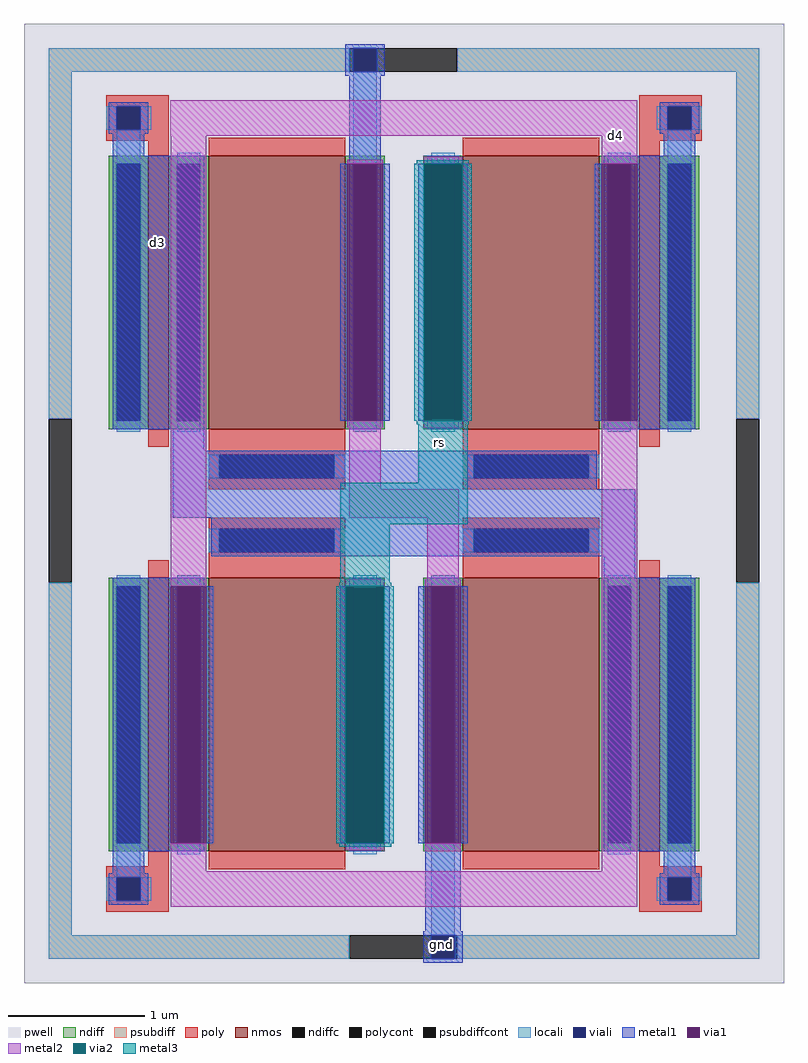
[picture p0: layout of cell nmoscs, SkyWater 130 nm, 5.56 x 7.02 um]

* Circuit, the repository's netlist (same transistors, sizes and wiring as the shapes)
** sch_path: /home/riff/mbkm-polytron/opamp/mag/nmoscs.sch
.subckt nmoscs RS D3 D4 GND
*.PININFO RS:B D3:B D4:B GND:B
XM4 D4 D3 RS GND sky130_fd_pr__nfet_01v8 L=1 W=2 nf=1 m=2
XM3 D3 D3 GND GND sky130_fd_pr__nfet_01v8 L=1 W=2 nf=1 m=2
XM1 D3 D3 D3 GND sky130_fd_pr__nfet_01v8 L=0.15 W=2 nf=1 m=2
XM2 D4 D4 D4 GND sky130_fd_pr__nfet_01v8 L=0.15 W=2 nf=1 m=2
.ends
.end

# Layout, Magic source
magic
tech sky130A
magscale 1 2
<< pwell >>
rect -213 -1253 899 151
<< psubdiff >>
rect -177 81 263 115
rect 421 81 863 115
rect -177 -427 -143 81
rect -177 -1183 -143 -667
rect 829 -427 863 81
rect 829 -1183 863 -667
rect -177 -1217 263 -1183
rect 421 -1217 863 -1183
<< psubdiffcont >>
rect 263 81 421 115
rect -177 -667 -143 -427
rect 829 -667 863 -427
rect 263 -1217 421 -1183
<< poly >>
rect -93 30 -1 46
rect -93 -4 -77 30
rect -43 -4 -1 30
rect -93 -20 -1 -4
rect -31 -42 -1 -20
rect 687 30 779 46
rect 687 -4 729 30
rect 763 -4 779 30
rect 687 -20 779 -4
rect 687 -42 717 -20
rect -31 -1082 -1 -1060
rect -93 -1098 -1 -1082
rect -93 -1132 -77 -1098
rect -43 -1132 -1 -1098
rect -93 -1148 -1 -1132
rect 687 -1082 717 -1080
rect 687 -1098 779 -1082
rect 687 -1132 729 -1098
rect 763 -1132 779 -1098
rect 687 -1148 779 -1132
<< polycont >>
rect -77 -4 -43 30
rect 729 -4 763 30
rect -77 -1132 -43 -1098
rect 729 -1132 763 -1098
<< locali >>
rect -177 81 263 115
rect 421 81 863 115
rect -177 -427 -143 81
rect -93 -4 -77 30
rect -43 -4 -27 30
rect -77 -42 -43 -4
rect 269 -39 303 81
rect 713 -4 729 30
rect 763 -4 779 30
rect 729 -42 763 -4
rect 829 -427 863 81
rect -177 -1183 -143 -667
rect -77 -1098 -43 -1060
rect -93 -1132 -77 -1098
rect -43 -1132 -27 -1098
rect 383 -1183 417 -1048
rect 729 -1098 763 -1060
rect 713 -1132 729 -1098
rect 763 -1132 779 -1098
rect 829 -1183 863 -667
rect -177 -1217 263 -1183
rect 421 -1217 863 -1183
<< viali >>
rect 269 81 303 115
rect -77 -4 -43 30
rect 729 -4 763 30
rect 269 -430 303 -54
rect 383 -430 417 -54
rect 269 -1048 303 -672
rect 383 -1048 417 -672
rect -77 -1132 -43 -1098
rect 729 -1132 763 -1098
rect 383 -1217 417 -1183
<< metal1 >>
rect 257 115 315 121
rect 257 81 269 115
rect 303 81 315 115
rect 257 75 315 81
rect -89 30 -31 36
rect -89 -4 -77 30
rect -43 -4 -31 30
rect -89 -10 -31 -4
rect -83 -42 -37 -10
rect -83 -442 51 -42
rect 263 -54 309 75
rect 717 30 775 36
rect 717 -4 729 30
rect 763 -4 775 30
rect 717 -10 775 -4
rect 723 -42 769 -10
rect 377 -54 423 -42
rect 635 -54 769 -42
rect 250 -430 260 -54
rect 312 -430 322 -54
rect 364 -430 374 -54
rect 426 -430 436 -54
rect 622 -430 632 -54
rect 684 -430 769 -54
rect 263 -442 309 -430
rect 377 -442 423 -430
rect 635 -442 769 -430
rect 5 -474 51 -442
rect 5 -530 625 -474
rect 5 -572 681 -530
rect 61 -628 681 -572
rect 635 -660 681 -628
rect -83 -672 51 -660
rect 263 -672 309 -660
rect 377 -672 423 -660
rect -83 -1048 2 -672
rect 54 -1048 64 -672
rect 250 -1048 260 -672
rect 312 -1048 322 -672
rect 364 -1048 374 -672
rect 426 -1048 436 -672
rect -83 -1060 51 -1048
rect 263 -1060 309 -1048
rect -83 -1092 -37 -1060
rect -89 -1098 -31 -1092
rect -89 -1132 -77 -1098
rect -43 -1132 -31 -1098
rect -89 -1138 -31 -1132
rect 374 -1177 426 -1048
rect 635 -1060 769 -660
rect 723 -1092 769 -1060
rect 717 -1098 775 -1092
rect 717 -1132 729 -1098
rect 763 -1132 775 -1098
rect 717 -1138 775 -1132
rect 371 -1183 429 -1177
rect 371 -1217 383 -1183
rect 417 -1217 429 -1183
rect 371 -1223 429 -1217
<< via1 >>
rect 260 -430 269 -54
rect 269 -430 303 -54
rect 303 -430 312 -54
rect 374 -430 383 -54
rect 383 -430 417 -54
rect 417 -430 426 -54
rect 632 -430 684 -54
rect 2 -1048 54 -672
rect 260 -1048 269 -672
rect 269 -1048 303 -672
rect 303 -1048 312 -672
rect 374 -1048 383 -672
rect 383 -1048 417 -672
rect 417 -1048 426 -672
<< metal2 >>
rect 1 -13 684 39
rect 2 -672 54 -13
rect 260 -54 312 -48
rect 260 -440 312 -430
rect 372 -54 428 -44
rect 372 -440 428 -430
rect 632 -54 684 -13
rect 263 -530 309 -440
rect 263 -572 423 -530
rect 377 -662 423 -572
rect 2 -1089 54 -1048
rect 258 -672 314 -662
rect 258 -1058 314 -1048
rect 374 -672 426 -662
rect 374 -1060 426 -1048
rect 632 -1089 684 -430
rect 2 -1141 684 -1089
<< via2 >>
rect 372 -430 374 -54
rect 374 -430 426 -54
rect 426 -430 428 -54
rect 258 -1048 260 -672
rect 260 -1048 312 -672
rect 312 -1048 314 -672
<< metal3 >>
rect 362 -54 438 -49
rect 358 -430 372 -54
rect 428 -430 442 -54
rect 362 -435 438 -430
rect 364 -521 436 -435
rect 250 -581 436 -521
rect 250 -667 322 -581
rect 248 -672 324 -667
rect 244 -1048 258 -672
rect 314 -1048 328 -672
rect 248 -1053 324 -1048
use sky130_fd_pr__nfet_01v8_27FZYL  sky130_fd_pr__nfet_01v8_27FZYL_0
transform 1 0 343 0 1 -273
box -344 -257 344 257
use sky130_fd_pr__nfet_01v8_Q6296P  sky130_fd_pr__nfet_01v8_Q6296P_0
transform 1 0 343 0 1 -829
box -344 -257 344 257
use sky130_fd_pr__nfet_01v8_TC9PLT  sky130_fd_pr__nfet_01v8_TC9PLT_0
transform 1 0 702 0 1 -860
box -73 -226 73 226
use sky130_fd_pr__nfet_01v8_TC9PLT  sky130_fd_pr__nfet_01v8_TC9PLT_1
transform 1 0 -16 0 1 -242
box -73 -226 73 226
use sky130_fd_pr__nfet_01v8_TC9PLT  sky130_fd_pr__nfet_01v8_TC9PLT_2
transform 1 0 -16 0 1 -860
box -73 -226 73 226
use sky130_fd_pr__nfet_01v8_TC9PLT  sky130_fd_pr__nfet_01v8_TC9PLT_3
transform 1 0 702 0 1 -242
box -73 -226 73 226
<< labels >>
flabel viali 398 -1196 398 -1196 0 FreeSans 480 0 0 0 gnd
port 0 nsew
flabel metal1 -17 -169 -17 -169 0 FreeSans 480 0 0 0 d3
port 1 nsew
flabel metal2 653 -12 653 -12 0 FreeSans 480 0 0 0 d4
port 2 nsew
flabel metal3 395 -462 395 -462 0 FreeSans 480 0 0 0 rs
port 3 nsew
<< end >>

# cell sky130_fd_pr__nfet_01v8_27FZYL: kit device sky130_fd_pr__nfet_01v8, w 2 l 1 m 1 nf 2 diffcov 100 polycov 100 guard 0 glc 1 grc 1 gtc 1 gbc 1 tbcov 100 rlcov 100 topc 0 botc 1 poverlap 0 doverlap 0 lmin 0.15 wmin 0.42 compatible {sky130_fd_pr__nfet_01v8 sky130_fd_pr__nfet_01v8_lvt sky130_fd_bs_flash__special_sonosfet_star sky130_fd_pr__nfet_g5v0d10v5 sky130_fd_pr__nfet_05v0_nvt sky130_fd_pr__nfet_03v3_nvt} full_metal 1 viasrc 100 viadrn 100 viagate 100 viagb 0 viagr 0 viagl 0 viagt 0

# cell sky130_fd_pr__nfet_01v8_Q6296P: kit device sky130_fd_pr__nfet_01v8, w 2 l 1 m 1 nf 2 diffcov 100 polycov 100 guard 0 glc 1 grc 1 gtc 1 gbc 1 tbcov 100 rlcov 100 topc 1 botc 0 poverlap 0 doverlap 0 lmin 0.15 wmin 0.42 compatible {sky130_fd_pr__nfet_01v8 sky130_fd_pr__nfet_01v8_lvt sky130_fd_bs_flash__special_sonosfet_star sky130_fd_pr__nfet_g5v0d10v5 sky130_fd_pr__nfet_05v0_nvt sky130_fd_pr__nfet_03v3_nvt} full_metal 1 viasrc 100 viadrn 100 viagate 100 viagb 0 viagr 0 viagl 0 viagt 0

# cell sky130_fd_pr__nfet_01v8_TC9PLT: kit device sky130_fd_pr__nfet_01v8, w 2 l 0.150 m 1 nf 1 diffcov 100 polycov 100 guard 0 glc 1 grc 1 gtc 1 gbc 1 tbcov 100 rlcov 100 topc 0 botc 0 poverlap 0 doverlap 1 lmin 0.15 wmin 0.42 compatible {sky130_fd_pr__nfet_01v8 sky130_fd_pr__nfet_01v8_lvt sky130_fd_bs_flash__special_sonosfet_star sky130_fd_pr__nfet_g5v0d10v5 sky130_fd_pr__nfet_05v0_nvt sky130_fd_pr__nfet_03v3_nvt} full_metal 1 viasrc 100 viadrn 100 viagate 100 viagb 0 viagr 0 viagl 0 viagt 0
